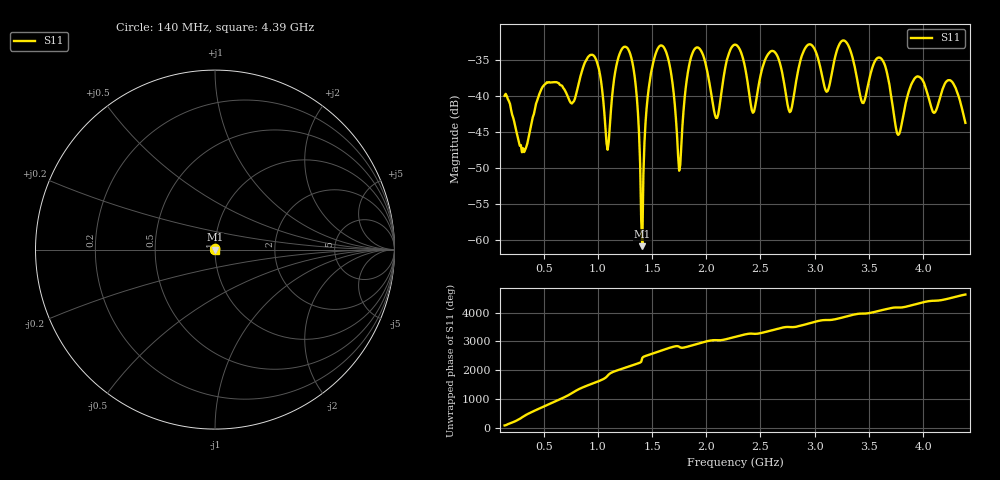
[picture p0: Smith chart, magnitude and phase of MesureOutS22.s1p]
! 140 4400 10
# MHz S MA R 50.0
!freq ReS11 ImS11
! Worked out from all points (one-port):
!   426 points, 140 MHz to 4.39 GHz, reference 50 ohm
!   lowest |S11| = -60.9 dB at 1.41 GHz (marker M1), VSWR 1.00, Z = 50 - j0.0894 ohm
!   |S11| at or under -10 dB: start of sweep to end of sweep
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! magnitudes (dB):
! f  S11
! 140 MHz  -40.0
! 320 MHz  -47.8
! 490 MHz  -38.8
! 680 MHz  -38.9
! 960 MHz  -34.4
! 1.09 GHz  -47.5
! 1.21 GHz  -33.8
! 1.33 GHz  -36.3
! 1.41 GHz  -60.9
! 1.47 GHz  -38.9
! 1.57 GHz  -33.1
! 1.67 GHz  -36.4
! 1.74 GHz  -48.3
! 1.88 GHz  -33.8
! 2.09 GHz  -43.1
! 2.27 GHz  -32.9
! 2.43 GHz  -42.4
! 2.6 GHz  -33.8
! 2.8 GHz  -40.7
! 2.93 GHz  -33.0
! 3.11 GHz  -39.4
! 3.33 GHz  -33.7
! 3.44 GHz  -41.0
! 3.63 GHz  -35.2
! 3.77 GHz  -45.4
! 3.86 GHz  -39.8
! 4.25 GHz  -37.8
! 4.39 GHz  -43.7
